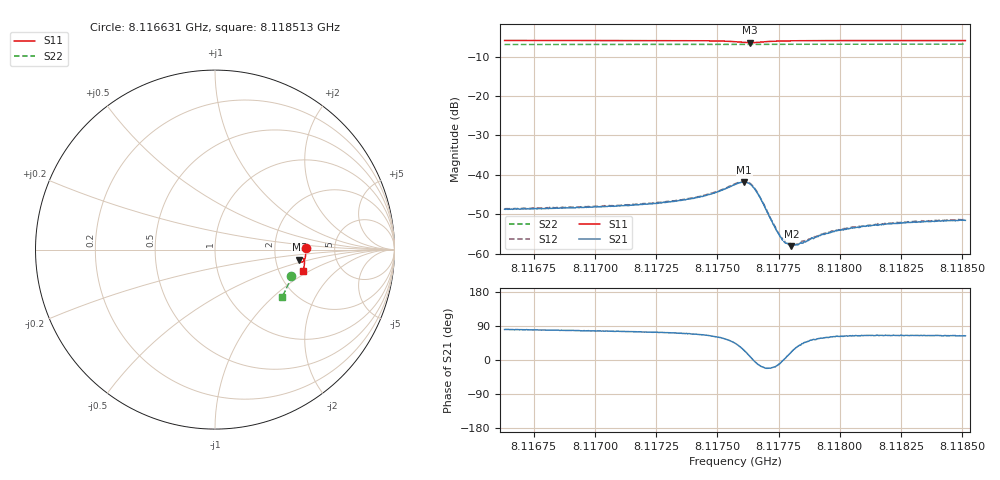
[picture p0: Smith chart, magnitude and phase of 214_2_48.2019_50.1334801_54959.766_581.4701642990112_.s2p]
#  HZ  S  RI  R  50.00
! Rohde & Schwarz Vector Network Analyzer
! Rohde-Schwarz,ZNB20-2Port,1311601062101988,3.16
! Created: UTC 3/20/2024, 11:45:40 AM
! freq[Hz]  re:S11  im:S11  re:S21  im:S21  re:S12  im:S12  re:S22  im:S22
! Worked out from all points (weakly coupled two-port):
!   401 points, 8.116631 GHz to 8.118513 GHz, reference 50 ohm
!   highest |S21| = -41.81 dB at 8.11761 GHz (marker M1); lowest = -58.1 dB at 8.117803 GHz (marker M2)
!   lowest |S11| = -6.5 dB at 8.117633 GHz (marker M3), VSWR 2.80, Z = 137 - j20.1 ohm
!   |S11| at or under -10 dB: nowhere
!   |S22| runs from -6.9 to -6.8 dB; largest |S21 - S12| = 0.0002
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8.1166308e9  0.5065 0.0112  0.000605 0.00361  0.000671 0.00365  0.4261 -0.1447
8.1169461e9  0.5061 -0.0131  0.000855 0.00375  0.000887 0.00381  0.4196 -0.1655
8.1172614e9  0.5037 -0.0387  0.0013 0.00418  0.00134 0.00426  0.4118 -0.186
8.1173556e9  0.5021 -0.0471  0.00161 0.00448  0.00169 0.00452  0.4092 -0.1921
8.1174356e9  0.4996 -0.0552  0.00212 0.00488  0.00219 0.00493  0.4068 -0.1975
8.1174968e9  0.496 -0.0621  0.00289 0.00529  0.00298 0.00535  0.405 -0.2015
8.1175721e9  0.4839 -0.0694  0.00539 0.00529  0.00554 0.00537  0.4022 -0.2062
8.1176097e9  0.4735 -0.0651  0.00733 0.00348  0.0075 0.00342  0.4007 -0.2081
8.1176332e9  0.4708 -0.0568  0.00757 0.00123  0.00773 0.00116  0.4 -0.209
8.1176521e9  0.4737 -0.0499  0.00661 -0.000446  0.00676 -0.000464  0.3998 -0.2098
8.1176709e9  0.4795 -0.0465  0.00523 -0.00127  0.00528 -0.00132  0.3996 -0.211
8.1177509e9  0.4956 -0.0542  0.00173 -0.000346  0.00176 -0.000355  0.3978 -0.2164
8.1177744e9  0.4969 -0.0575  0.00138 7.55e-05  0.00146 8.05e-05  0.3972 -0.2178
8.1177932e9  0.4977 -0.0601  0.00124 0.000339  0.00129 0.000328  0.3965 -0.2191
8.1178027e9  0.498 -0.0613  0.00116 0.000456  0.00121 0.000467  0.3964 -0.2198
8.1178309e9  0.4985 -0.0648  0.00104 0.000779  0.00106 0.000764  0.3955 -0.2216
8.1178874e9  0.4987 -0.071  0.000954 0.00127  0.000993 0.00128  0.3936 -0.225
8.1179768e9  0.4982 -0.0794  0.000898 0.00168  0.000946 0.00167  0.3908 -0.2308
8.1180474e9  0.4975 -0.0855  0.000965 0.0019  0.000964 0.00193  0.3883 -0.2352
8.1182027e9  0.4954 -0.0981  0.00101 0.00217  0.00105 0.00219  0.383 -0.2447
8.1183439e9  0.4931 -0.109  0.00107 0.00231  0.00114 0.00234  0.3779 -0.2532
8.1185133e9  0.49 -0.1217  0.00117 0.00237  0.0012 0.00241  0.3717 -0.2632
